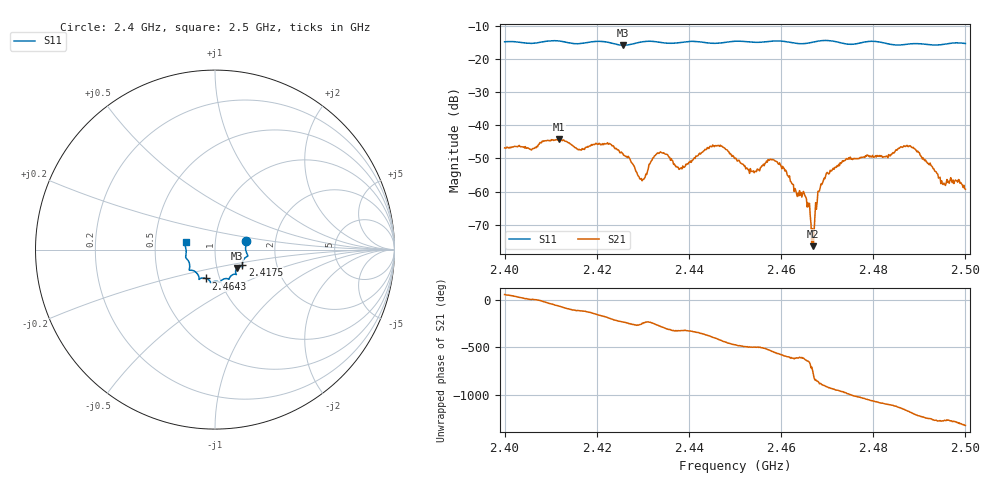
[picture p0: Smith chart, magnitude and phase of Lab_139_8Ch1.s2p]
# Hz S RI R 50
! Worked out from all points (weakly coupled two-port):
!   601 points, 2.4 GHz to 2.5 GHz, reference 50 ohm
!   highest |S21| = -44.27 dB at 2.4118 GHz (marker M1); lowest = -76.4 dB at 2.467 GHz (marker M2)
!   lowest |S11| = -15.9 dB at 2.4257 GHz (marker M3), VSWR 1.38, Z = 62.5 - j13 ohm
!   |S11| at or under -10 dB: start of sweep to end of sweep
!   S12 and S22 are empty: the file has one direction only
!   S11 on the Smith chart (normalised r, x): 2.4 GHz: 1.41, +0.14; 2.4175 GHz: 1.34, -0.23; 2.4643 GHz: 0.86, -0.28; 2.5 GHz: 0.72, +0.06
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2.4e9  0.1731 0.049  0.00229 0.00393  0 0  0 0
2.411833e9  0.1815 -0.0364  0.00271 -0.00548  0 0  0 0
2.416667e9  0.1529 -0.0739  -0.00171 -0.00386  0 0  0 0
2.4175e9  0.1518 -0.0837  -0.00209 -0.00409  0 0  0 0
2.425667e9  0.1231 -0.1017  -0.00235 0.00287  0 0  0 0
2.429833e9  0.117 -0.136  -0.000621 0.00132  0 0  0 0
2.433333e9  0.1135 -0.1372  -0.000178 0.0038  0 0  0 0
2.438e9  0.0823 -0.1543  0.00176 0.00128  0 0  0 0
2.445e9  0.0559 -0.1616  0.00412 -0.00233  0 0  0 0
2.45e9  0.0287 -0.1812  -0.00125 -0.00287  0 0  0 0
2.454167e9  0.00951 -0.1767  -0.00142 -0.00129  0 0  0 0
2.458667e9  -0.0217 -0.1838  -0.00282 0.000679  0 0  0 0
2.464333e9  -0.0499 -0.1607  -0.000317 0.000913  0 0  0 0
2.465667e9  -0.0658 -0.1578  0.000151 0.000564  0 0  0 0
2.466667e9  -0.0761 -0.1589  0.000152 2.82e-05  0 0  0 0
2.467e9  -0.079 -0.1597  6.34e-05 -0.000137  0 0  0 0
2.468333e9  -0.0867 -0.164  -0.000997 -0.000229  0 0  0 0
2.470167e9  -0.0885 -0.1658  -0.00176 0.000706  0 0  0 0
2.483333e9  -0.1407 -0.0897  0.00323 -0.00162  0 0  0 0
2.488333e9  -0.1613 -0.0479  -0.0018 -0.00427  0 0  0 0
2.495167e9  -0.1637 0.0119  -0.00119 0.000459  0 0  0 0
2.5e9  -0.164 0.043  -0.000411 0.001  0 0  0 0
